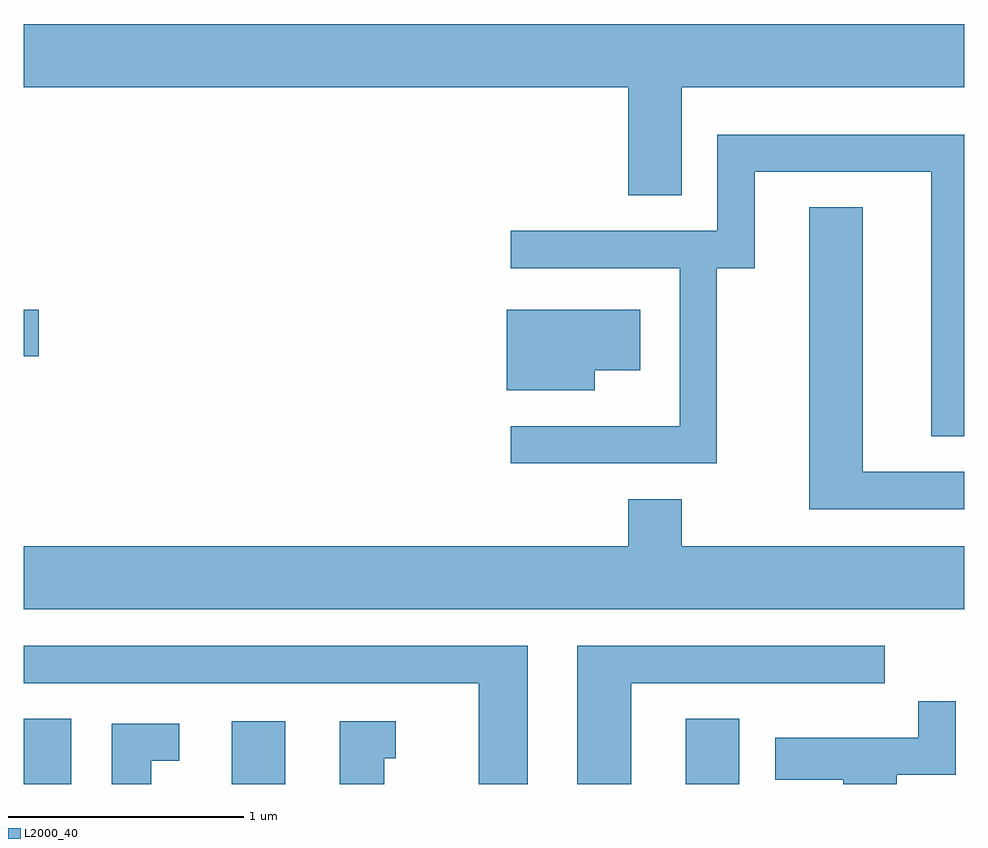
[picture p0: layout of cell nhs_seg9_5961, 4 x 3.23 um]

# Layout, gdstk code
import gdstk
lib = gdstk.Library(unit=1e-6, precision=1e-09)
def R(c, l, rs):  # rectangles x0, y0, x1, y1
    for r in rs: c.add(gdstk.rectangle(r[:2], r[2:], *l))
def P(c, l, *ps):  # polygons
    for p in ps: c.add(gdstk.Polygon(p, *l))
L2000_40 = (2000, 40)

nhs_seg9_5961 = lib.new_cell('nhs_seg9_5961')
R(nhs_seg9_5961, L2000_40, [(361.611,1964.432,361.814,1964.709), (362.496,1964.432,362.724,1964.699), (364.426,1964.432,364.654,1964.709), (361.611,1966.251,361.674,1966.449)])
P(nhs_seg9_5961, L2000_40, [(364.409,1967.396),(365.611,1967.396),(365.611,1967.664),(361.611,1967.664),(361.611,1967.396),(364.181,1967.396),(364.181,1966.936),(364.409,1966.936)],
  [(364.559,1966.626),(364.719,1966.626),(364.719,1967.036),(365.471,1967.036),(365.471,1965.911),(365.611,1965.911),(365.611,1967.194),(364.561,1967.194),(364.561,1966.784),(363.683,1966.784),(363.683,1966.626),(364.401,1966.626),(364.401,1965.954),(363.683,1965.954),(363.683,1965.796),(364.559,1965.796)],
  [(365.611,1965.759),(365.179,1965.759),(365.179,1966.884),(364.951,1966.884),(364.951,1965.601),(365.611,1965.601)],
  [(364.039,1966.191),(364.234,1966.191),(364.234,1966.449),(363.666,1966.449),(363.666,1966.106),(364.039,1966.106)],
  [(365.611,1965.444),(364.409,1965.444),(364.409,1965.644),(364.181,1965.644),(364.181,1965.444),(361.611,1965.444),(361.611,1965.176),(365.611,1965.176)],
  [(364.194,1964.861),(365.273,1964.861),(365.273,1965.019),(363.966,1965.019),(363.966,1964.432),(364.194,1964.432)],
  [(363.754,1965.019),(361.611,1965.019),(361.611,1964.861),(363.546,1964.861),(363.546,1964.432),(363.754,1964.432)],
  [(365.324,1964.471),(365.574,1964.471),(365.574,1964.783),(365.416,1964.783),(365.416,1964.629),(364.806,1964.629),(364.806,1964.451),(365.096,1964.451),(365.096,1964.432),(365.324,1964.432)],
  [(363.144,1964.541),(363.193,1964.541),(363.193,1964.699),(362.956,1964.699),(362.956,1964.432),(363.144,1964.432)],
  [(362.154,1964.531),(362.273,1964.531),(362.273,1964.689),(361.986,1964.689),(361.986,1964.432),(362.154,1964.432)])

lib.write_gds('nhs_seg9_5961.gds')
